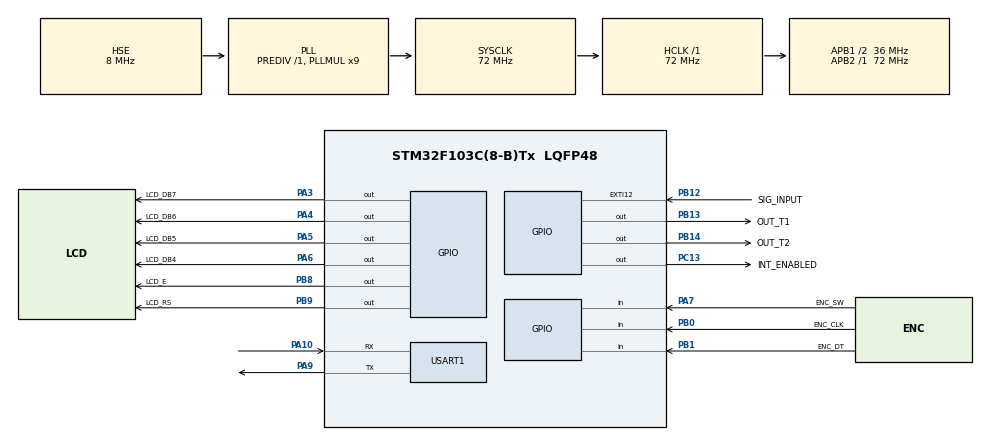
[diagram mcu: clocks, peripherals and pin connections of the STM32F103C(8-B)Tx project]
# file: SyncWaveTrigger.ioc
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Mcu.Family=STM32F1
Mcu.Name=STM32F103C(8-B)Tx
Mcu.Package=LQFP48
NVIC.EXTI15_10_IRQn=true\:1\:0\:true\:false\:true\:true\:true\:true
NVIC.PriorityGroup=NVIC_PRIORITYGROUP_4
NVIC.USART1_IRQn=true\:2\:0\:true\:false\:true\:true\:true\:true
PA10.Mode=Asynchronous
PA10.Signal=USART1_RX
PA13.Mode=Serial_Wire
PA13.Signal=SYS_JTMS-SWDIO
PA14.Mode=Serial_Wire
PA14.Signal=SYS_JTCK-SWCLK
PA3.GPIO_Label=LCD_DB7
PA3.GPIO_PuPd=GPIO_NOPULL
PA3.Signal=GPIO_Output
PA4.GPIO_Label=LCD_DB6
PA4.Signal=GPIO_Output
PA5.GPIO_Label=LCD_DB5
PA5.Signal=GPIO_Output
PA6.GPIO_Label=LCD_DB4
PA6.Signal=GPIO_Output
PA7.GPIO_Label=ENC_SW
PA7.GPIO_PuPd=GPIO_PULLUP
PA7.Signal=GPIO_Input
PA9.Mode=Asynchronous
PA9.Signal=USART1_TX
PB0.GPIO_Label=ENC_CLK
PB0.Signal=GPIO_Input
PB1.GPIO_Label=ENC_DT
PB1.Signal=GPIO_Input
PB12.GPIO_Label=SIG_INPUT
PB12.Signal=GPXTI12
PB13.GPIO_Label=OUT_T1
PB13.GPIO_Speed=GPIO_SPEED_FREQ_HIGH
PB13.Signal=GPIO_Output
PB14.GPIO_Label=OUT_T2
PB14.GPIO_Speed=GPIO_SPEED_FREQ_HIGH
PB14.Signal=GPIO_Output
PB8.GPIO_Label=LCD_E
PB8.Signal=GPIO_Output
PB9.GPIO_Label=LCD_RS
PB9.Signal=GPIO_Output
PC13-TAMPER-RTC.GPIO_Label=INT_ENABLED
PC13-TAMPER-RTC.PinState=GPIO_PIN_SET
PC13-TAMPER-RTC.Signal=GPIO_Output
PD0-OSC_IN.Mode=HSE-External-Oscillator
PD0-OSC_IN.Signal=RCC_OSC_IN
PD1-OSC_OUT.Mode=HSE-External-Oscillator
PD1-OSC_OUT.Signal=RCC_OSC_OUT
ProjectManager.HeapSize=0x200
ProjectManager.StackSize=0x400
ProjectManager.TargetToolchain=STM32CubeIDE
RCC.AHBFreq_Value=72000000
RCC.APB1CLKDivider=RCC_HCLK_DIV2
RCC.APB1Freq_Value=36000000
RCC.APB1TimFreq_Value=72000000
RCC.APB2Freq_Value=72000000
RCC.APB2TimFreq_Value=72000000
RCC.HCLKFreq_Value=72000000
RCC.PLLMUL=RCC_PLL_MUL9
RCC.PLLSourceVirtual=RCC_PLLSOURCE_HSE
RCC.SYSCLKFreq_VALUE=72000000
RCC.SYSCLKSource=RCC_SYSCLKSOURCE_PLLCLK
RCC.USBFreq_Value=72000000
TIM1.Period=0xffff-1
TIM1.Prescaler=72-1
USART1.VirtualMode=VM_ASYNC
VP_TIM1_VS_ClockSourceINT.Mode=Internal
board=custom

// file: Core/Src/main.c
/* USER CODE BEGIN Header */
/**
 ******************************************************************************
 * @file           : main.c
 * @brief          : Main program body
 ******************************************************************************
 * @attention
 *
 * Copyright (c) 2024 STMicroelectronics.
 * All rights reserved.
 *
 * This software is licensed under terms that can be found in the LICENSE file
 * in the root directory of this software component.
 * If no LICENSE file comes with this software, it is provided AS-IS.
 *
 ******************************************************************************
 */
/* USER CODE END Header */
#include "main.h"

/* USER CODE BEGIN Includes */
#include "LCD/LCD.h"
#include "Configuraciones.h"
#include "string.h"
/* USER CODE END Includes */

/* USER CODE BEGIN PTD */
typedef enum {
	HOME,
	SELECT_T1,
	SELECT_T2,
	SELECT_T3,
	EDIT_T1,
	EDIT_T2,
	EDIT_T3,
	EDIT_UNIT_T1,
	PRE_RUN,
	RUN,
	TRIGGERED,
	CONFIG,
	CONFIG_LOGIC_OUT1,
	CONFIG_LOGIC_OUT2,
	EDIT_CONFIG_LOGIC_OUT1,
	EDIT_CONFIG_LOGIC_OUT2,
	EXIT
} var_menu;

typedef enum {
	CMD_IDLE = -1, CMD_READING, CMD_READY
} var_cmd_it;
/* USER CODE END PTD */

/* USER CODE BEGIN PM */
#define BUTTON()( INV_LOGICA_SW ? HAL_GPIO_ReadPin(ENC_SW_GPIO_Port, ENC_SW_Pin) : !HAL_GPIO_ReadPin(ENC_SW_GPIO_Port, ENC_SW_Pin) )
#define EXIT_MENU_DELAY HAL_Delay(25)
/* USER CODE END PM */

TIM_HandleTypeDef htim1;

UART_HandleTypeDef huart1;

/* USER CODE BEGIN PV */
void delay_us(uint32_t us);
void switchToMenu(var_menu new);
int8_t readEncoder();
int8_t readButton();

volatile var_menu menu = HOME;
type_data_t1 modeT1;
uint8_t logicaQ1 = 1, logicaQ2 = 1;
int16_t T1, T2, T3;
int16_t T1_lcd;

char buff_tx[50], buff_rx[50], buff_temp[10];
char charRead;
uint8_t buff_index;
volatile var_cmd_it cmdStatus = CMD_IDLE;
/* USER CODE END PV */

void SystemClock_Config(void);
static void MX_GPIO_Init(void);
static void MX_TIM1_Init(void);
static void MX_USART1_UART_Init(void);

int main(void)
{

  /* MCU Configuration--------------------------------------------------------*/

  /* Reset of all peripherals, Initializes the Flash interface and the Systick. */
  HAL_Init();

  /* Configure the system clock */
  SystemClock_Config();

  /* Initialize all configured peripherals */
  MX_GPIO_Init();
  MX_TIM1_Init();
  MX_USART1_UART_Init();
  /* USER CODE BEGIN 2 */
	//Apago las interrupciones
	HAL_NVIC_DisableIRQ(EXTI15_10_IRQn);
	HAL_TIM_Base_Start(&htim1);

	//Inicializacion del LCD
	LCD_Init();
	LCD_setCursor(4, 0);
	LCD_printString("TEMPORIZADOR");
	LCD_setCursor(4, 1);
	LCD_printString("DE  DISPAROS");
	LCD_setCursor(5, 3);
	LCD_printString("-  LEME  -");
	HAL_Delay(2500);
	printHome(1);

	menu = HOME;
	int8_t encRead = readEncoder();
	T1_lcd = 10;
	T2 = 0;
	T3 = 0;
	modeT1 = T1_MS;

	HAL_UART_Receive_IT(&huart1, (uint8_t*) &charRead, 1);
  /* USER CODE END 2 */

  /* Infinite loop */
	while (1) {

    /* USER CODE BEGIN 3 */

		//************************************************************************/
		/* 			LEE LOS COMANDOS EN LA ESTRUCTURA CORRECTA         		     */
		/*************************************************************************/
		if (cmdStatus == CMD_READY) {
			//Deshabilito las interrupciones
			HAL_UART_AbortReceive_IT(&huart1);

			/*-------------------------------------------------------------------*/
			if (strncmp(buff_rx, "#01&", 4) == 0) {
				sprintf(buff_tx, "#OK&");
				HAL_UART_Transmit_IT(&huart1, (uint8_t*) buff_tx, strlen(buff_tx));
			} else if (strncmp(buff_rx, "#10&", 4) == 0) {							//#10& (Devuelvo los tiempos)
				sprintf(buff_tx, "#10$%05d%05d%05d&", T1_lcd, T2, T3);
				HAL_UART_Transmit_IT(&huart1, (uint8_t*) buff_tx, strlen(buff_tx));
			} else if (strncmp(buff_rx, "#11$", 4) == 0 && strlen(buff_rx) == 20) {	//$11& (Recibo los tiempos de la app)
				//T1
				strncpy(buff_temp, buff_rx + 4, 5);
				buff_temp[5] = '\0';
				sscanf(buff_temp, "%hd", &T1_lcd);
				//T2
				strncpy(buff_temp, buff_rx + 9, 5);
				buff_temp[5] = '\0';
				sscanf(buff_temp, "%hd", &T2);
				//T3
				strncpy(buff_temp, buff_rx + 14, 5);
				buff_temp[5] = '\0';
				sscanf(buff_temp, "%hd", &T3);

				//Respuesta
				sprintf(buff_tx, "#11&");
				HAL_UART_Transmit_IT(&huart1, (uint8_t*) buff_tx, strlen(buff_tx));

				printNewValuesBT(1);
				HAL_Delay(2000);
				switchToMenu(menu);
			} else if (strncmp(buff_rx, "#20&", 4) == 0) {
				OUT1_ON(logicaQ1);
				sprintf(buff_tx, "#20&");
				HAL_UART_Transmit_IT(&huart1, (uint8_t*) buff_tx, strlen(buff_tx));
			} else if (strncmp(buff_rx, "#21&", 4) == 0) {
				OUT1_OFF(logicaQ1);
				sprintf(buff_tx, "#21&");
				HAL_UART_Transmit_IT(&huart1, (uint8_t*) buff_tx, strlen(buff_tx));
			} else if (strncmp(buff_rx, "#22&", 4) == 0) {
				OUT2_ON(logicaQ2);
				sprintf(buff_tx, "#22&");
				HAL_UART_Transmit_IT(&huart1, (uint8_t*) buff_tx, strlen(buff_tx));
			} else if (strncmp(buff_rx, "#23&", 4) == 0) {
				OUT2_OFF(logicaQ2);
				sprintf(buff_tx, "#23&");
				HAL_UART_Transmit_IT(&huart1, (uint8_t*) buff_tx, strlen(buff_tx));
			} else if (strncmp(buff_rx, "#50&", 4) == 0) {
				sprintf(buff_tx, "#50&");
				HAL_UART_Transmit_IT(&huart1, (uint8_t*) buff_tx, strlen(buff_tx));

				OUT1_OFF(logicaQ1);
				OUT2_OFF(logicaQ2);
				switchToMenu(RUN);

				/************************************************************************/
				/*                      PREPARACION PARA DISPARO                        */
				/************************************************************************/
				T1 = T1_lcd;
				if (T1_lcd < MIN_T1_TO_ADD_20MS)
					T1 += 20000;

				__HAL_GPIO_EXTI_CLEAR_IT(SIG_INPUT_Pin); //Limpio el flag de la interrupcion
				HAL_NVIC_EnableIRQ(EXTI15_10_IRQn);	//Habilito la interrupcion
				/************************************************************************/
			}

			/*-------------------------------------------------------------------*/
			cmdStatus = CMD_IDLE;
			//Habilito nuevamente las interrupciones
			HAL_UART_Receive_IT(&huart1, (uint8_t*) &charRead, 1);
		}
		/*************************************************************************/

		encRead = readEncoder();
		//HAL_Delay(1);

		switch (menu) {
		case HOME: //============================================================================== HOME
			if (readButton() == 1) {
				switchToMenu(SELECT_T1);
			}
			break;

		case SELECT_T1: //========================================================================= SELECT_T1
			if (encRead == 1) {
				switchToMenu(SELECT_T2);
			}

			if (readButton() == 1) {
				//Si las unidades son Grados o ms, entonces convierto el actual (que siempre estara en us)
				//a la unidad correspondiente.
				if (modeT1 == T1_GRADOS)
					T1_lcd = (uint16_t) (T1_lcd * 360.0 / 20000.0);
				else if (modeT1 == T1_MS)
					T1_lcd = (uint16_t) (T1_lcd / 1000.0);

				switchToMenu(EDIT_T1);
			}
			break;

		case EDIT_T1: //========================================================================== EDIT_T1
			if (encRead != 0) {
				//Si giro el encoder, incrementa o decrementa segun la unidad.
				//Finalmente, actualizo el LCD.
				switch (modeT1) {
				case T1_US:
					T1_lcd += encRead * MIN_SALTO_T1;
					if (T1_lcd < 0)
						T1_lcd = 0;
					if (T1_lcd > MAX_T1_US)
						T1_lcd = MAX_T1_US;
					break;
				case T1_MS:
					T1_lcd += encRead;
					if (T1_lcd < 0)
						T1_lcd = 0;
					if (T1_lcd > MAX_T1_MS)
						T1_lcd = MAX_T1_MS;
					break;
				case T1_GRADOS:
					T1_lcd += encRead;
					if (T1_lcd < 0)
						T1_lcd = 0;
					if (T1_lcd > MAX_T1_GRADOS)
						T1_lcd = MAX_T1_GRADOS;
					break;
				}
				printEditT1(1, T1_lcd, modeT1);
			}

			switch (readButton()) {
			case 1:
				switch (modeT1) {

				case T1_GRADOS:
					//Al hacer una pulsacion corta, vuelvo al menu de SELECT_T1 pero antes
					//convierto de nuevo a US segun la unidad actual.
					T1_lcd = (uint16_t) (T1_lcd * 20000.0 / 360.0);
					break;
				case T1_MS:
					T1_lcd = (uint16_t) (T1_lcd * 1000.0);
					break;
				default:
					break;
				}
				switchToMenu(SELECT_T1);
				break;
			case -1:
				//Si realizo una pulsacion larga, entonces voy directo al menu de edicion de unidad
				switchToMenu(EDIT_UNIT_T1);
				break;
			default:
				break;
			}
			break;

		case SELECT_T2: //======================================================================== SELECT_T2
			if (encRead == 1) {
				switchToMenu(SELECT_T3);
			} else if (encRead == -1) {
				switchToMenu(SELECT_T1);
			}

			if (readButton() == 1) {
				switchToMenu(EDIT_T2);
			}
			break;

		case EDIT_T2: //========================================================================== EDIT_T2
			if (encRead != 0) {
				T2 += encRead * MIN_SALTO_T2;
				if (T2 < MIN_SALTO_T2)
					T2 = MIN_SALTO_T2;
				if (T2 > MAX_T2)
					T2 = MAX_T2;
				printEditT2(0, T2);
			}

			if (readButton()) {
				switchToMenu(SELECT_T2);
			}
			break;

		case EDIT_UNIT_T1: //===================================================================== EDIT_UNIT_T1
			//Segun el sentido de giro y la unidad actual, cambio a la nueva unidad
			//pero ademas, actualizo el valor actual a la nueva unidad.
			if (encRead == 1) {
				if (modeT1 == T1_US) { //[us]  -->  [ms]
					modeT1 = T1_MS;
					T1_lcd = (uint16_t) (T1_lcd / 1000.0);
				} else if (modeT1 == T1_MS) {  //[ms]  -->  [grados]
					modeT1 = T1_GRADOS;
					T1_lcd = (uint16_t) (T1_lcd * 360.0 / 20.0);
				}
				printEditT1Unit(1, T1_lcd, modeT1);
			} else if (encRead == -1) {
				if (modeT1 == T1_GRADOS) {  //[grados]  -->  [ms]
					modeT1 = T1_MS;
					T1_lcd = (uint16_t) (T1_lcd * 20.0 / 360.0);
				} else if (modeT1 == T1_MS) {  //[ms]  -->  [us]
					modeT1 = T1_US;
					T1_lcd = (uint16_t) (T1_lcd * 1000.0);
				}
				printEditT1Unit(1, T1_lcd, modeT1);
			}

			if (readButton() == -1) {
				switchToMenu(EDIT_T1);
			}
			break;

		case SELECT_T3: //======================================================================== SELECT_T3
			if (encRead == 1) {
				switchToMenu(PRE_RUN);
			} else if (encRead == -1) {
				switchToMenu(SELECT_T2);
			}

			if (readButton()) {
				switchToMenu(EDIT_T3);
			}
			break;

		case EDIT_T3: //========================================================================== EDIT_T3
			if (encRead != 0) {
				T3 += encRead * MIN_SALTO_T3;
				if (T3 < MIN_SALTO_T3)
					T3 = MIN_SALTO_T3;
				if (T3 > MAX_T3)
					T3 = MAX_T3;
				printEditT3(1, T3);
			}

			if (readButton()) {
				switchToMenu(SELECT_T3);
			}
			break;

		case PRE_RUN: //========================================================================== PRE_RUN (Iniciar?)
			if (encRead == -1) {
				switchToMenu(SELECT_T3);
			} else if (encRead == 1) {
				switchToMenu(CONFIG);
			}

			if (readButton() == -1) {
				OUT1_OFF(logicaQ1);
				OUT2_OFF(logicaQ2);
				switchToMenu(RUN);

				/************************************************************************/
				/*                      PREPARACION PARA DISPARO                        */
				/************************************************************************/
				T1 = T1_lcd;
				if (T1_lcd < MIN_T1_TO_ADD_20MS && T1_lcd > 0)
					T1 += 20000;

				HAL_GPIO_WritePin(INT_ENABLED_GPIO_Port, INT_ENABLED_Pin, 0); //Led Built-In

				__HAL_GPIO_EXTI_CLEAR_IT(SIG_INPUT_Pin); //Limpio el flag de la interrupcion
				HAL_NVIC_EnableIRQ(EXTI15_10_IRQn);	//Habilito la interrupcion
				/************************************************************************/
			}
			break;

		case TRIGGERED: //======================================================================== TRIGGERED
			printTriggered();

			uint8_t fin = 0;
			while (!readButton() && fin != 1) {
				HAL_Delay(1);

				//Verifico si recibo el comando para finalizar por Bluetooth
				if (cmdStatus == CMD_READY) {
					//Deshabilito las interrupciones
					HAL_UART_AbortReceive_IT(&huart1);

					if (strncmp(buff_rx, "#51&", 4) == 0) {
						sprintf(buff_tx, "#51&");
						HAL_UART_Transmit_IT(&huart1, (uint8_t*) buff_tx, strlen(buff_tx));
						fin = 1;
					}

					cmdStatus = CMD_IDLE;
					//Habilito nuevamente las interrupciones
					HAL_UART_Receive_IT(&huart1, (uint8_t*) &charRead, 1);
				}
			}

			OUT1_OFF(logicaQ1);
			OUT2_OFF(logicaQ2);
			HAL_GPIO_WritePin(INT_ENABLED_GPIO_Port, INT_ENABLED_Pin, 1); //Led Built-In
			switchToMenu(HOME);
			break;

		case CONFIG: //=========================================================================== CONFIG (Entrar?)
			if (encRead == -1) {
				switchToMenu(PRE_RUN);
			}

			if (readButton()) {
				switchToMenu(CONFIG_LOGIC_OUT1);
			}
			break;

		case CONFIG_LOGIC_OUT1: //================================================================ CONFIG_LOGIC_OUT1
			if (encRead == 1) {
				switchToMenu(CONFIG_LOGIC_OUT2);
			}

			if (readButton()) {
				switchToMenu(EDIT_CONFIG_LOGIC_OUT1);
			}
			break;

		case EDIT_CONFIG_LOGIC_OUT1: //=========================================================== EDIT_CONFIG_LOGIC_OUT1
			if (logicaQ1 && encRead == -1) {
				logicaQ1 = 0;
				printEditConfigLogT1(1, logicaQ1);
			} else if (!logicaQ1 && encRead == 1) {
				logicaQ1 = 1;
				printEditConfigLogT1(1, logicaQ1);
			}

			if (readButton()) {
				OUT1_OFF(logicaQ1);
				switchToMenu(CONFIG_LOGIC_OUT1);
			}
			break;

		case CONFIG_LOGIC_OUT2: //================================================================ CONFIG_LOGIC_T2
			if (encRead == -1) {
				switchToMenu(CONFIG_LOGIC_OUT1);
			} else if (encRead == 1) {
				switchToMenu(EXIT);
			}

			if (readButton()) {
				switchToMenu(EDIT_CONFIG_LOGIC_OUT2);
			}
			break;

		case EDIT_CONFIG_LOGIC_OUT2: //=========================================================== EDIT_CONFIG_LOGIC_T2
			if (logicaQ2 && encRead == -1) {
				logicaQ2 = 0;
				printEditConfigLogT2(1, logicaQ2);
			} else if (!logicaQ2 && encRead == 1) {
				logicaQ2 = 1;
				printEditConfigLogT2(1, logicaQ2);
			}

			if (readButton()) {
				OUT2_OFF(logicaQ2);
				switchToMenu(CONFIG_LOGIC_OUT2);
			}
			break;

		case EXIT:				//EXIT
			if (encRead == -1) {
				switchToMenu(CONFIG_LOGIC_OUT2);
			}

			if (readButton()) {
				switchToMenu(CONFIG);
			}
			break;
		default:
			break;

		}
	}
  /* USER CODE END 3 */
}

void SystemClock_Config(void)
{
  RCC_OscInitTypeDef RCC_OscInitStruct = {0};
  RCC_ClkInitTypeDef RCC_ClkInitStruct = {0};

  /** Initializes the RCC Oscillators according to the specified parameters
  * in the RCC_OscInitTypeDef structure.
  */
  RCC_OscInitStruct.OscillatorType = RCC_OSCILLATORTYPE_HSE;
  RCC_OscInitStruct.HSEState = RCC_HSE_ON;
  RCC_OscInitStruct.HSEPredivValue = RCC_HSE_PREDIV_DIV1;
  RCC_OscInitStruct.HSIState = RCC_HSI_ON;
  RCC_OscInitStruct.PLL.PLLState = RCC_PLL_ON;
  RCC_OscInitStruct.PLL.PLLSource = RCC_PLLSOURCE_HSE;
  RCC_OscInitStruct.PLL.PLLMUL = RCC_PLL_MUL9;
  if (HAL_RCC_OscConfig(&RCC_OscInitStruct) != HAL_OK)
  {
    Error_Handler();
  }

  /** Initializes the CPU, AHB and APB buses clocks
  */
  RCC_ClkInitStruct.ClockType = RCC_CLOCKTYPE_HCLK|RCC_CLOCKTYPE_SYSCLK
                              |RCC_CLOCKTYPE_PCLK1|RCC_CLOCKTYPE_PCLK2;
  RCC_ClkInitStruct.SYSCLKSource = RCC_SYSCLKSOURCE_PLLCLK;
  RCC_ClkInitStruct.AHBCLKDivider = RCC_SYSCLK_DIV1;
  RCC_ClkInitStruct.APB1CLKDivider = RCC_HCLK_DIV2;
  RCC_ClkInitStruct.APB2CLKDivider = RCC_HCLK_DIV1;

  if (HAL_RCC_ClockConfig(&RCC_ClkInitStruct, FLASH_LATENCY_2) != HAL_OK)
  {
    Error_Handler();
  }
}

static void MX_TIM1_Init(void)
{

  TIM_ClockConfigTypeDef sClockSourceConfig = {0};
  TIM_MasterConfigTypeDef sMasterConfig = {0};

  htim1.Instance = TIM1;
  htim1.Init.Prescaler = 72-1;
  htim1.Init.CounterMode = TIM_COUNTERMODE_UP;
  htim1.Init.Period = 0xffff-1;
  htim1.Init.ClockDivision = TIM_CLOCKDIVISION_DIV1;
  htim1.Init.RepetitionCounter = 0;
  htim1.Init.AutoReloadPreload = TIM_AUTORELOAD_PRELOAD_DISABLE;
  if (HAL_TIM_Base_Init(&htim1) != HAL_OK)
  {
    Error_Handler();
  }
  sClockSourceConfig.ClockSource = TIM_CLOCKSOURCE_INTERNAL;
  if (HAL_TIM_ConfigClockSource(&htim1, &sClockSourceConfig) != HAL_OK)
  {
    Error_Handler();
  }
  sMasterConfig.MasterOutputTrigger = TIM_TRGO_RESET;
  sMasterConfig.MasterSlaveMode = TIM_MASTERSLAVEMODE_DISABLE;
  if (HAL_TIMEx_MasterConfigSynchronization(&htim1, &sMasterConfig) != HAL_OK)
  {
    Error_Handler();
  }

}

static void MX_USART1_UART_Init(void)
{

  huart1.Instance = USART1;
  huart1.Init.BaudRate = 115200;
  huart1.Init.WordLength = UART_WORDLENGTH_8B;
  huart1.Init.StopBits = UART_STOPBITS_1;
  huart1.Init.Parity = UART_PARITY_NONE;
  huart1.Init.Mode = UART_MODE_TX_RX;
  huart1.Init.HwFlowCtl = UART_HWCONTROL_NONE;
  huart1.Init.OverSampling = UART_OVERSAMPLING_16;
  if (HAL_UART_Init(&huart1) != HAL_OK)
  {
    Error_Handler();
  }

}

static void MX_GPIO_Init(void)
{
  GPIO_InitTypeDef GPIO_InitStruct = {0};

  /* GPIO Ports Clock Enable */
  __HAL_RCC_GPIOC_CLK_ENABLE();
  __HAL_RCC_GPIOD_CLK_ENABLE();
  __HAL_RCC_GPIOA_CLK_ENABLE();
  __HAL_RCC_GPIOB_CLK_ENABLE();

  /*Configure GPIO pin Output Level */
  HAL_GPIO_WritePin(INT_ENABLED_GPIO_Port, INT_ENABLED_Pin, GPIO_PIN_SET);

  /*Configure GPIO pin Output Level */
  HAL_GPIO_WritePin(GPIOA, LCD_DB7_Pin|LCD_DB6_Pin|LCD_DB5_Pin|LCD_DB4_Pin, GPIO_PIN_RESET);

  /*Configure GPIO pin Output Level */
  HAL_GPIO_WritePin(GPIOB, OUT_T1_Pin|OUT_T2_Pin|LCD_E_Pin|LCD_RS_Pin, GPIO_PIN_RESET);

  /*Configure GPIO pin : INT_ENABLED_Pin */
  GPIO_InitStruct.Pin = INT_ENABLED_Pin;
  GPIO_InitStruct.Mode = GPIO_MODE_OUTPUT_PP;
  GPIO_InitStruct.Pull = GPIO_NOPULL;
  GPIO_InitStruct.Speed = GPIO_SPEED_FREQ_LOW;
  HAL_GPIO_Init(INT_ENABLED_GPIO_Port, &GPIO_InitStruct);

  /*Configure GPIO pins : LCD_DB7_Pin LCD_DB6_Pin LCD_DB5_Pin LCD_DB4_Pin */
  GPIO_InitStruct.Pin = LCD_DB7_Pin|LCD_DB6_Pin|LCD_DB5_Pin|LCD_DB4_Pin;
  GPIO_InitStruct.Mode = GPIO_MODE_OUTPUT_PP;
  GPIO_InitStruct.Pull = GPIO_NOPULL;
  GPIO_InitStruct.Speed = GPIO_SPEED_FREQ_LOW;
  HAL_GPIO_Init(GPIOA, &GPIO_InitStruct);

  /*Configure GPIO pin : ENC_SW_Pin */
  GPIO_InitStruct.Pin = ENC_SW_Pin;
  GPIO_InitStruct.Mode = GPIO_MODE_INPUT;
  GPIO_InitStruct.Pull = GPIO_PULLUP;
  HAL_GPIO_Init(ENC_SW_GPIO_Port, &GPIO_InitStruct);

  /*Configure GPIO pins : ENC_CLK_Pin ENC_DT_Pin */
  GPIO_InitStruct.Pin = ENC_CLK_Pin|ENC_DT_Pin;
  GPIO_InitStruct.Mode = GPIO_MODE_INPUT;
  GPIO_InitStruct.Pull = GPIO_NOPULL;
  HAL_GPIO_Init(GPIOB, &GPIO_InitStruct);

  /*Configure GPIO pin : SIG_INPUT_Pin */
  GPIO_InitStruct.Pin = SIG_INPUT_Pin;
  GPIO_InitStruct.Mode = GPIO_MODE_IT_RISING;
  GPIO_InitStruct.Pull = GPIO_NOPULL;
  HAL_GPIO_Init(SIG_INPUT_GPIO_Port, &GPIO_InitStruct);

  /*Configure GPIO pins : OUT_T1_Pin OUT_T2_Pin */
  GPIO_InitStruct.Pin = OUT_T1_Pin|OUT_T2_Pin;
  GPIO_InitStruct.Mode = GPIO_MODE_OUTPUT_PP;
  GPIO_InitStruct.Pull = GPIO_NOPULL;
  GPIO_InitStruct.Speed = GPIO_SPEED_FREQ_HIGH;
  HAL_GPIO_Init(GPIOB, &GPIO_InitStruct);

  /*Configure GPIO pins : LCD_E_Pin LCD_RS_Pin */
  GPIO_InitStruct.Pin = LCD_E_Pin|LCD_RS_Pin;
  GPIO_InitStruct.Mode = GPIO_MODE_OUTPUT_PP;
  GPIO_InitStruct.Pull = GPIO_NOPULL;
  GPIO_InitStruct.Speed = GPIO_SPEED_FREQ_LOW;
  HAL_GPIO_Init(GPIOB, &GPIO_InitStruct);

  /* EXTI interrupt init*/
  HAL_NVIC_SetPriority(EXTI15_10_IRQn, 1, 0);
  HAL_NVIC_EnableIRQ(EXTI15_10_IRQn);

}

/* USER CODE BEGIN 4 */
/************************************************************************/
/*       	INTERRUPCION PARA RECEPCION DE DATOS POR USART		        */
/************************************************************************/
void HAL_UART_RxCpltCallback(UART_HandleTypeDef *huart) {
	if (charRead == '#' && (cmdStatus == CMD_IDLE || cmdStatus == CMD_READING)) {
		buff_index = 0;
		buff_rx[0] = charRead;
		buff_index++;
		cmdStatus = CMD_READING;
	} else if (charRead == '&' && cmdStatus == CMD_READING) {
		buff_rx[buff_index] = charRead;
		buff_rx[buff_index + 1] = '\0';
		cmdStatus = CMD_READY;
	} else if (cmdStatus == CMD_READING) {
		buff_rx[buff_index] = charRead;
		buff_index++;
	}

	HAL_UART_Receive_IT(&huart1, (uint8_t*) &charRead, 1);
}

/************************************************************************/
/*     					INTERRUPCION DEL CRUCE POR CERO			        */
/************************************************************************/
void HAL_GPIO_EXTI_Callback(uint16_t GPIO_Pin) {
	//Quito el flag y apago la interrupcion.
	__HAL_TIM_SET_COUNTER(&htim1, 0);
	HAL_NVIC_DisableIRQ(EXTI15_10_IRQn);

	if (T1 != 0) {
		while (__HAL_TIM_GET_COUNTER(&htim1) < T1)
			;
	}

	OUT1_ON(logicaQ1);

	if (T3 == 0) {
		HAL_Delay(T2);
		OUT1_OFF(logicaQ1);
	} else if (T3 < T2) {
		HAL_Delay(T3);
		OUT2_ON(logicaQ2);
		HAL_Delay(T2 - T3);
		OUT1_OFF(logicaQ1);
	} else if (T3 > T2) {
		HAL_Delay(T2);
		OUT1_OFF(logicaQ1);
		HAL_Delay(T3 - T2);
		OUT2_ON(logicaQ2);
	} else {
		HAL_Delay(T2);
		OUT1_OFF(logicaQ1);
		OUT2_ON(logicaQ2);
	}

	menu = TRIGGERED;
}

/************************************************************************/
/*     							DELAY EN US          					*/
/************************************************************************/
void delay_us(uint32_t us) {
	__HAL_TIM_SET_COUNTER(&htim1, 0);  // set the counter value a 0
	while (__HAL_TIM_GET_COUNTER(&htim1) < us)
		;  // wait for the counter to reach the us input in the parameter
}

/************************************************************************/
/*     					PERMITE CAMBIAR ENTRE LOS MENUS          		*/
/************************************************************************/
void switchToMenu(var_menu new) {
	menu = new;
	switch (new) {
	case HOME:
		printHome(1);
		break;
	case SELECT_T1:
		printViewT1(1, T1_lcd, modeT1);
		break;
	case SELECT_T2:
		printViewT2(1, T2);
		break;
	case SELECT_T3:
		printViewT3(1, T3);
		break;
	case EDIT_T1:
		printEditT1(1, T1_lcd, modeT1);
		break;
	case EDIT_T2:
		printEditT2(1, T2);
		break;
	case EDIT_T3:
		printEditT3(1, T3);
		break;
	case EDIT_UNIT_T1:
		printEditT1Unit(1, T1_lcd, modeT1);
		break;
	case PRE_RUN:
		printPreRun(1, T1_lcd, T2, T3);
		break;
	case RUN:
		printRunning(T1_lcd, T2, T3);
		break;
	case TRIGGERED:
		printTriggered();
		break;
	case CONFIG:
		printConfigEntrar(1);
		break;
	case CONFIG_LOGIC_OUT1:
		printViewConfigLogT1(1, logicaQ1);
		break;
	case EDIT_CONFIG_LOGIC_OUT1:
		printEditConfigLogT1(1, logicaQ1);
		break;
	case CONFIG_LOGIC_OUT2:
		printViewConfigLogT2(1, logicaQ2);
		break;
	case EDIT_CONFIG_LOGIC_OUT2:
		printEditConfigLogT2(1, logicaQ2);
		break;
	case EXIT:
		printConfigVolver(1);
		break;
	}
}

/************************************************************************/
/*     							ENCODER ROTATIVO          				*/
/************************************************************************/
int8_t readEncoder() {
	int8_t result = 0;
	static uint8_t prev_CLK = 0;

	uint8_t now_CLK = HAL_GPIO_ReadPin(ENC_CLK_GPIO_Port, ENC_CLK_Pin);
	uint8_t now_DT = HAL_GPIO_ReadPin(ENC_DT_GPIO_Port, ENC_DT_Pin);

	if (prev_CLK != now_CLK) {
		HAL_Delay(1);
		prev_CLK = now_CLK;

		if (now_CLK == 0) {
			if (now_DT == 0) {
				result = INV_LOGICA_ENCODER ? 1 : -1;
			} else if (now_DT == 1) {
				result = INV_LOGICA_ENCODER ? -1 : 1;
			}
		}
	}

	return (result);
}

/************************************************************************/
/*     				PULSADOR DEL ENCODER ROTATIVO          				*/
/*	Devuelve:															*/
/* 		-1: Pulsacion larga												*/
/*		 0: No se presiono												*/
/*		 1: Presion corta												*/
/************************************************************************/
int8_t readButton() {
	static uint8_t bt_prev = 0;
	uint8_t bt_now = BUTTON();
	uint8_t result = 0;
	uint16_t dt = 0;

	if (bt_now != bt_prev) {
		if (bt_now == 1 && bt_prev == 0) {
			HAL_Delay(5);
			while (BUTTON() == 1) {
				HAL_Delay(1);
				dt++;
				if (dt > MIN_MS_ENCODER_LT) {
					result = -1;
					break;
				} else if (dt < MAX_MS_ENCODER_ST) {
					result = 1;
				}
			}
		}

		bt_prev = bt_now;
	}

	return (result);
}
/* USER CODE END 4 */

void Error_Handler(void)
{
	__disable_irq();
	while (1) {
	}
}
